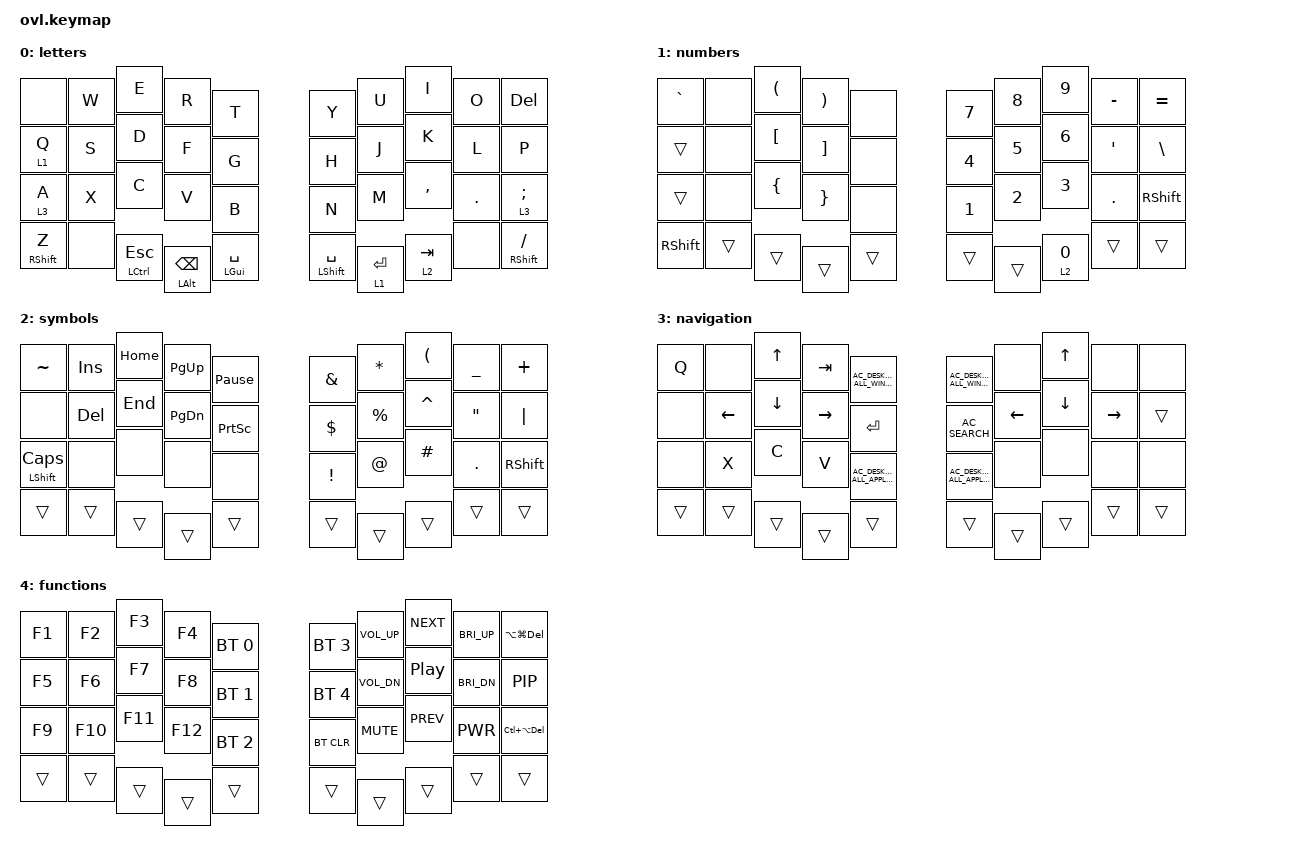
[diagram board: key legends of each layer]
// This file was generated from a template. Edit it to match your keyboard.
// See https://zmk.dev/docs/development/hardware-integration/new-shield for more instructions.

#include <behaviors.dtsi>
#include <dt-bindings/zmk/keys.h>

/ {
    // Define a default keymap here.
    // See https://zmk.dev/docs/development/hardware-integration/new-shield#default-keymap.
keymap {
        compatible = "zmk,keymap";

        letters {
            bindings = <
            &none        &kp W  &kp E          &kp R               &kp T             &kp Y             &kp U      &kp I      &kp O    &kp DEL
            &lt 1 Q      &kp S  &kp D          &kp F               &kp G             &kp H             &kp J      &kp K      &kp L    &kp P
            &lt 3 A      &kp X  &kp C          &kp V               &kp B             &kp N             &kp M      &kp COMMA  &kp DOT  &lt 3 SEMI
            &mt RSHFT Z  &none  &mt LCTRL ESC  &mt LALT BACKSPACE  &mt LGUI SPACE    &mt LSHIFT SPACE  &lt 1 RET  &lt 2 TAB  &none  &mt RIGHT_SHIFT FSLH
            >;
        };

        numbers {
            bindings = <
            &kp GRAVE  &none   &kp LPAR          &kp RPAR           &none     &kp N7  &kp N8  &kp N9    &kp MINUS  &kp EQUAL
            &trans     &none   &kp LEFT_BRACKET  &kp RIGHT_BRACKET  &none     &kp N4  &kp N5  &kp N6    &kp APOS   &kp BSLH
            &trans     &none   &kp LEFT_BRACE    &kp RIGHT_BRACE    &none     &kp N1  &kp N2  &kp N3    &kp DOT    &kp RSHFT
            &kp RSHFT  &trans  &trans            &trans             &trans    &trans  &trans  &lt 2 N0  &trans     &trans
            >;
        };

        symbols {
            bindings = <
            &kp TILDE            &kp INS  &kp HOME  &kp PG_UP  &kp PAUSE_BREAK    &kp AMPS         &kp STAR     &kp LPAR   &kp UNDER          &kp PLUS
            &none                &kp DEL  &kp END   &kp PG_DN  &kp PRINTSCREEN    &kp DOLLAR       &kp PERCENT  &kp CARET  &kp DOUBLE_QUOTES  &kp PIPE
            &mt LSHIFT CAPSLOCK  &none    &none     &none      &none              &kp EXCLAMATION  &kp AT       &kp HASH   &kp DOT            &kp RSHIFT
            &trans               &trans   &trans    &trans     &trans             &trans           &trans       &trans     &trans             &trans
            >;
        };

        navigation {
            bindings = <
            &kp Q  &none     &kp UP    &kp TAB    &kp C_AC_DESKTOP_SHOW_ALL_WINDOWS         &kp C_AC_DESKTOP_SHOW_ALL_WINDOWS       &none     &kp UP    &none      &none
            &none  &kp LEFT  &kp DOWN  &kp RIGHT  &kp ENTER                                 &kp C_AC_SEARCH                         &kp LEFT  &kp DOWN  &kp RIGHT  &trans
            &none  &kp X     &kp C     &kp V      &kp C_AC_DESKTOP_SHOW_ALL_APPLICATIONS    &kp C_AC_DESKTOP_SHOW_ALL_APPLICATIONS  &none     &none     &none      &none
            &trans               &trans   &trans    &trans     &trans             &trans           &trans       &trans     &trans             &trans
            >;
        };

        functions {
            bindings = <
            &kp F1  &kp F2   &kp F3   &kp F4   &bt BT_SEL 0    &bt BT_SEL 3  &kp C_VOL_UP  &kp C_NEXT  &kp C_BRI_UP  &kp LA(LG(DELETE))
            &kp F5  &kp F6   &kp F7   &kp F8   &bt BT_SEL 1    &bt BT_SEL 4  &kp C_VOL_DN  &kp C_PP    &kp C_BRI_DN  &kp C_PIP
            &kp F9  &kp F10  &kp F11  &kp F12  &bt BT_SEL 2    &bt BT_CLR    &kp C_MUTE    &kp C_PREV  &kp C_PWR     &kp LC(LA(DELETE))
            &trans  &trans   &trans   &trans   &trans          &trans        &trans        &trans      &trans        &trans
            >;
        };
    };

    conditional_layers {
        compatible = "zmk,conditional-layers";

        both {
            if-layers = <1 2>;
            then-layer = <4>;
        };
    };

    sensor-bindings = <&inc_dec_kp C_VOL_UP C_VOL_DN>;
};
